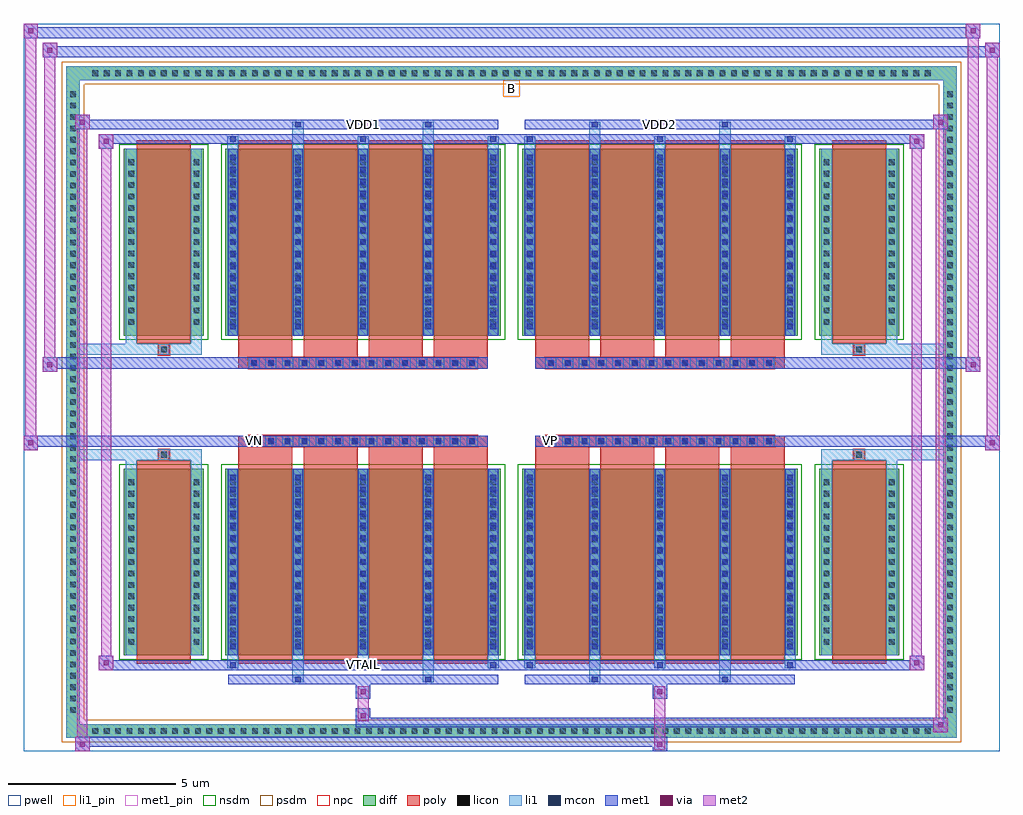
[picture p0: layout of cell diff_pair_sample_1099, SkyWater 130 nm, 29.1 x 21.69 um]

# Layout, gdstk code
import gdstk
lib = gdstk.Library(unit=1e-6, precision=5e-09)
def R(c, l, rs):  # rectangles x0, y0, x1, y1
    for r in rs: c.add(gdstk.rectangle(r[:2], r[2:], *l))
def A(c, l, x, y, w, h, nx, ny, dx, dy):  # array of equal rectangles
    R(c, l, [(x+i*dx, y+j*dy, x+i*dx+w, y+j*dy+h) for i in range(nx) for j in range(ny)])
def P(c, l, *ps):  # polygons
    for p in ps: c.add(gdstk.Polygon(p, *l))
pwell = (64, 44)
diff = (65, 20)
poly = (66, 20)
licon = (66, 44)
li1_pin = (67, 16)
li1 = (67, 20)
mcon = (67, 44)
met1_pin = (68, 16)
met1 = (68, 20)
via = (68, 44)
met2 = (69, 20)
nsdm = (93, 44)
psdm = (94, 20)
npc = (95, 20)

diff_pair_sample_1099 = lib.new_cell('diff_pair_sample_1099')
R(diff_pair_sample_1099, pwell, [(-14.55,-10.41,14.55,11.28), (-11.87,-8.6,-0.01,-0.8), (0.01,-8.6,11.87,-0.8), (-11.87,0.8,-0.01,8.6), (0.01,0.8,11.87,8.6)])
A(diff_pair_sample_1099, diff, -12.615, -10.01, 0.41, 0.41, 74, 2, 0.34, 19.61)
A(diff_pair_sample_1099, diff, -13.28, -9.385, 0.41, 0.41, 1, 55, 0, 0.34)
A(diff_pair_sample_1099, diff, 12.87, -9.385, 0.41, 0.41, 1, 55, 0, 0.34)
R(diff_pair_sample_1099, diff, [(-12.615,-10.01,12.615,-9.6), (-13.28,-9.385,-12.87,9.385), (12.87,-9.385,13.28,9.385), (-11.56,-7.555,-9.17,-1.985), (-8.53,-7.555,-0.32,-1.985), (0.32,-7.555,8.53,-1.985), (9.17,-7.555,11.56,-1.985), (-11.56,1.985,-9.17,7.555), (-8.53,1.985,-0.32,7.555), (0.32,1.985,8.53,7.555), (9.17,1.985,11.56,7.555), (-12.615,9.6,12.615,10.01)])
P(diff_pair_sample_1099, diff, [(13.28,10.01),(-13.28,10.01),(-13.28,-9.6),(-12.87,-9.6),(-12.87,9.6),(12.87,9.6),(12.87,-9.6),(-12.87,-9.6),(-13.28,-9.6),(-13.28,-10.01),(13.28,-10.01)])
A(diff_pair_sample_1099, poly, -8.14, -7.805, 1.61, 6.07, 4, 2, 1.94, 9.54)
A(diff_pair_sample_1099, poly, 0.71, -7.805, 1.61, 6.07, 4, 2, 1.94, 9.54)
A(diff_pair_sample_1099, poly, -8.14, -1.735, 1.61, 0.405, 4, 2, 1.94, 3.065)
A(diff_pair_sample_1099, poly, 0.71, -1.735, 1.61, 0.405, 4, 2, 1.94, 3.065)
A(diff_pair_sample_1099, poly, -7.84, -1.33, 0.33, 0.33, 14, 2, 0.5, 2.33)
A(diff_pair_sample_1099, poly, 1.01, -1.33, 0.33, 0.33, 14, 2, 0.5, 2.33)
R(diff_pair_sample_1099, poly, [(-11.17,-7.805,-9.56,-1.735), (9.56,-7.805,11.17,-1.735), (-10.53,-1.735,-10.2,-1.405), (-10.53,-1.735,-10.2,-1.405), (10.2,-1.735,10.53,-1.405), (10.2,-1.735,10.53,-1.405), (-8.14,-1.33,-0.71,-1), (0.71,-1.33,8.14,-1), (-8.14,1,-0.71,1.33), (0.71,1,8.14,1.33), (-10.53,1.405,-10.2,1.735), (-10.53,1.405,-10.2,1.735), (10.2,1.405,10.53,1.735), (10.2,1.405,10.53,1.735), (-11.17,1.735,-9.56,7.805), (9.56,1.735,11.17,7.805)])
A(diff_pair_sample_1099, licon, -12.495, -9.89, 0.17, 0.17, 74, 2, 0.34, 19.61)
A(diff_pair_sample_1099, licon, -13.16, -9.265, 0.17, 0.17, 1, 55, 0, 0.34)
A(diff_pair_sample_1099, licon, 12.99, -9.265, 0.17, 0.17, 1, 55, 0, 0.34)
A(diff_pair_sample_1099, licon, -11.42, -7.235, 0.17, 0.17, 1, 15, 0, 0.34)
A(diff_pair_sample_1099, licon, -9.48, -7.235, 0.17, 0.17, 1, 15, 0, 0.34)
A(diff_pair_sample_1099, licon, -8.39, -7.235, 0.17, 0.17, 5, 15, 1.94, 0.34)
A(diff_pair_sample_1099, licon, 0.46, -7.235, 0.17, 0.17, 5, 15, 1.94, 0.34)
A(diff_pair_sample_1099, licon, 9.31, -7.235, 0.17, 0.17, 1, 15, 0, 0.34)
A(diff_pair_sample_1099, licon, 11.25, -7.235, 0.17, 0.17, 1, 15, 0, 0.34)
A(diff_pair_sample_1099, licon, -7.76, -1.25, 0.17, 0.17, 14, 2, 0.5, 2.33)
A(diff_pair_sample_1099, licon, 1.09, -1.25, 0.17, 0.17, 14, 2, 0.5, 2.33)
A(diff_pair_sample_1099, licon, -11.42, 2.305, 0.17, 0.17, 1, 15, 0, 0.34)
A(diff_pair_sample_1099, licon, -9.48, 2.305, 0.17, 0.17, 1, 15, 0, 0.34)
A(diff_pair_sample_1099, licon, -8.39, 2.305, 0.17, 0.17, 5, 15, 1.94, 0.34)
A(diff_pair_sample_1099, licon, 0.46, 2.305, 0.17, 0.17, 5, 15, 1.94, 0.34)
A(diff_pair_sample_1099, licon, 9.31, 2.305, 0.17, 0.17, 1, 15, 0, 0.34)
A(diff_pair_sample_1099, licon, 11.25, 2.305, 0.17, 0.17, 1, 15, 0, 0.34)
R(diff_pair_sample_1099, licon, [(-10.45,-1.655,-10.28,-1.485), (10.28,-1.655,10.45,-1.485), (-10.45,1.485,-10.28,1.655), (10.28,1.485,10.45,1.655)])
R(diff_pair_sample_1099, li1_pin, [(-0.25,9.1,0.25,9.6)])
A(diff_pair_sample_1099, li1, -12.575, -9.97, 0.33, 0.33, 74, 2, 0.34, 19.61)
A(diff_pair_sample_1099, li1, -13.24, -9.345, 0.33, 0.33, 1, 55, 0, 0.34)
A(diff_pair_sample_1099, li1, 12.91, -9.345, 0.33, 0.33, 1, 55, 0, 0.34)
A(diff_pair_sample_1099, li1, -8.47, -7.93, 0.33, 0.375, 3, 2, 3.88, 15.485)
A(diff_pair_sample_1099, li1, -8.39, -7.93, 0.17, 0.17, 3, 2, 3.88, 15.69)
A(diff_pair_sample_1099, li1, 0.38, -7.93, 0.33, 0.375, 3, 2, 3.88, 15.485)
A(diff_pair_sample_1099, li1, 0.46, -7.93, 0.17, 0.17, 3, 2, 3.88, 15.69)
A(diff_pair_sample_1099, li1, -8.47, -7.555, 0.33, 5.57, 5, 2, 1.94, 9.54)
A(diff_pair_sample_1099, li1, 0.38, -7.555, 0.33, 5.57, 5, 2, 1.94, 9.54)
A(diff_pair_sample_1099, li1, -8.39, -7.375, 0.17, 0.17, 5, 15, 1.94, 0.36)
A(diff_pair_sample_1099, li1, -8.39, -7.375, 0.17, 5.21, 5, 2, 1.94, 9.54)
A(diff_pair_sample_1099, li1, 0.46, -7.375, 0.17, 0.17, 5, 15, 1.94, 0.36)
A(diff_pair_sample_1099, li1, 0.46, -7.375, 0.17, 5.21, 5, 2, 1.94, 9.54)
A(diff_pair_sample_1099, li1, -11.5, -7.315, 0.33, 0.33, 1, 15, 0, 0.34)
A(diff_pair_sample_1099, li1, -9.56, -7.315, 0.33, 0.33, 1, 15, 0, 0.34)
A(diff_pair_sample_1099, li1, -8.47, -7.315, 0.33, 0.33, 5, 15, 1.94, 0.34)
A(diff_pair_sample_1099, li1, 0.38, -7.315, 0.33, 0.33, 5, 15, 1.94, 0.34)
A(diff_pair_sample_1099, li1, 9.23, -7.315, 0.33, 0.33, 1, 15, 0, 0.34)
A(diff_pair_sample_1099, li1, 11.17, -7.315, 0.33, 0.33, 1, 15, 0, 0.34)
A(diff_pair_sample_1099, li1, -7.84, -1.33, 0.33, 0.33, 14, 2, 0.5, 2.33)
A(diff_pair_sample_1099, li1, 1.01, -1.33, 0.33, 0.33, 14, 2, 0.5, 2.33)
A(diff_pair_sample_1099, li1, -8.39, 2.165, 0.17, 0.17, 5, 15, 1.94, 0.36)
A(diff_pair_sample_1099, li1, 0.46, 2.165, 0.17, 0.17, 5, 15, 1.94, 0.36)
A(diff_pair_sample_1099, li1, -11.5, 2.225, 0.33, 0.33, 1, 15, 0, 0.34)
A(diff_pair_sample_1099, li1, -9.56, 2.225, 0.33, 0.33, 1, 15, 0, 0.34)
A(diff_pair_sample_1099, li1, -8.47, 2.225, 0.33, 0.33, 5, 15, 1.94, 0.34)
A(diff_pair_sample_1099, li1, 0.38, 2.225, 0.33, 0.33, 5, 15, 1.94, 0.34)
A(diff_pair_sample_1099, li1, 9.23, 2.225, 0.33, 0.33, 1, 15, 0, 0.34)
A(diff_pair_sample_1099, li1, 11.17, 2.225, 0.33, 0.33, 1, 15, 0, 0.34)
R(diff_pair_sample_1099, li1, [(-13.28,-10.01,-12.87,-9.6), (-13.28,-10.01,-12.87,-9.6), (-12.87,-10.01,12.87,-9.6), (12.87,-10.01,13.28,-9.6), (12.87,-10.01,13.28,-9.6), (-13.28,-9.6,-12.87,9.6), (12.87,-9.6,13.28,9.6), (-6.53,-8.36,-6.2,-7.555), (-6.45,-8.36,-6.28,-8.19), (-2.65,-8.36,-2.32,-7.555), (-2.57,-8.36,-2.4,-8.19), (2.32,-8.36,2.65,-7.555), (2.4,-8.36,2.57,-8.19), (6.2,-8.36,6.53,-7.555), (6.28,-8.36,6.45,-8.19), (-11.5,-7.555,-11.17,-1.985), (-9.56,-7.555,-9.23,-1.985), (9.23,-7.555,9.56,-1.985), (11.17,-7.555,11.5,-1.985), (-11.5,-1.985,-11.17,-1.405), (-9.56,-1.985,-9.23,-1.405), (9.23,-1.985,9.56,-1.405), (11.17,-1.985,11.5,-1.405), (-13.28,-1.735,-10.53,-1.405), (-11.5,-1.735,-10.53,-1.405), (-10.53,-1.735,-10.2,-1.405), (-10.2,-1.735,-9.23,-1.405), (9.23,-1.735,10.2,-1.405), (10.2,-1.735,10.53,-1.405), (10.2,-1.735,13.28,-1.405), (10.53,-1.735,11.5,-1.405), (-13.28,1.405,-10.53,1.735), (-11.5,1.405,-10.53,1.735), (-11.5,1.405,-11.17,1.985), (-10.53,1.405,-10.2,1.735), (-10.2,1.405,-9.23,1.735), (-9.56,1.405,-9.23,1.985), (9.23,1.405,10.2,1.735), (9.23,1.405,9.56,1.985), (10.2,1.405,10.53,1.735), (10.2,1.405,13.28,1.735), (10.53,1.405,11.5,1.735), (11.17,1.405,11.5,1.985), (-11.5,1.985,-11.17,7.555), (-9.56,1.985,-9.23,7.555), (9.23,1.985,9.56,7.555), (11.17,1.985,11.5,7.555), (-6.53,7.555,-6.2,8.36), (-2.65,7.555,-2.32,8.36), (2.32,7.555,2.65,8.36), (6.2,7.555,6.53,8.36), (-6.45,8.19,-6.28,8.36), (-2.57,8.19,-2.4,8.36), (2.4,8.19,2.57,8.36), (6.28,8.19,6.45,8.36), (-13.28,9.6,-12.87,10.01), (-13.28,9.6,-12.87,10.01), (-12.87,9.6,12.87,10.01), (12.87,9.6,13.28,10.01), (12.87,9.6,13.28,10.01)])
A(diff_pair_sample_1099, mcon, -8.39, -7.93, 0.17, 0.17, 3, 2, 3.88, 15.69)
A(diff_pair_sample_1099, mcon, 0.46, -7.93, 0.17, 0.17, 3, 2, 3.88, 15.69)
A(diff_pair_sample_1099, mcon, -8.39, -7.375, 0.17, 0.17, 5, 15, 1.94, 0.36)
A(diff_pair_sample_1099, mcon, 0.46, -7.375, 0.17, 0.17, 5, 15, 1.94, 0.36)
A(diff_pair_sample_1099, mcon, -7.76, -1.25, 0.17, 0.17, 14, 2, 0.5, 2.33)
A(diff_pair_sample_1099, mcon, 1.09, -1.25, 0.17, 0.17, 14, 2, 0.5, 2.33)
A(diff_pair_sample_1099, mcon, -8.39, 2.165, 0.17, 0.17, 5, 15, 1.94, 0.36)
A(diff_pair_sample_1099, mcon, 0.46, 2.165, 0.17, 0.17, 5, 15, 1.94, 0.36)
R(diff_pair_sample_1099, mcon, [(-6.45,-8.36,-6.28,-8.19), (-2.57,-8.36,-2.4,-8.19), (2.4,-8.36,2.57,-8.19), (6.28,-8.36,6.45,-8.19), (-6.45,8.19,-6.28,8.36), (-2.57,8.19,-2.4,8.36), (2.4,8.19,2.57,8.36), (6.28,8.19,6.45,8.36)])
R(diff_pair_sample_1099, met1_pin, [(-4.56,-7.97,-4.29,-7.7), (-7.81,-1.29,-7.54,-1.02), (1.04,-1.29,1.31,-1.02), (-4.56,8.15,-4.29,8.42), (4.29,8.15,4.56,8.42)])
A(diff_pair_sample_1099, met1, -8.45, -7.99, 0.29, 0.29, 3, 2, 3.88, 15.69)
A(diff_pair_sample_1099, met1, 0.4, -7.99, 0.29, 0.29, 3, 2, 3.88, 15.69)
A(diff_pair_sample_1099, met1, -8.45, -7.555, 0.29, 5.57, 5, 2, 1.94, 9.54)
A(diff_pair_sample_1099, met1, 0.4, -7.555, 0.29, 5.57, 5, 2, 1.94, 9.54)
A(diff_pair_sample_1099, met1, -8.45, -7.435, 0.29, 0.29, 5, 15, 1.94, 0.36)
A(diff_pair_sample_1099, met1, 0.4, -7.435, 0.29, 0.29, 5, 15, 1.94, 0.36)
A(diff_pair_sample_1099, met1, -7.82, -1.31, 0.29, 0.29, 14, 2, 0.5, 2.33)
A(diff_pair_sample_1099, met1, 1.03, -1.31, 0.29, 0.29, 14, 2, 0.5, 2.33)
A(diff_pair_sample_1099, met1, -8.45, 2.105, 0.29, 0.29, 5, 15, 1.94, 0.36)
A(diff_pair_sample_1099, met1, 0.4, 2.105, 0.29, 0.29, 5, 15, 1.94, 0.36)
R(diff_pair_sample_1099, met1, [(-13.01,-10.41,-12.58,-9.98), (4.21,-10.41,4.64,-9.98), (-13.01,-10.27,4.64,-9.98), (12.58,-9.84,13.01,-9.41), (-4.64,-9.7,13.01,-9.41), (-4.64,-9.56,-4.21,-9.13), (-4.64,-8.85,-4.21,-8.42), (4.21,-8.85,4.64,-8.42), (-8.45,-8.42,-0.4,-8.13), (-6.51,-8.42,-6.22,-8.13), (-2.63,-8.42,-2.34,-8.13), (0.4,-8.42,8.45,-8.13), (2.34,-8.42,2.63,-8.13), (6.22,-8.42,6.51,-8.13), (-12.3,-7.99,-11.87,-7.56), (-12.3,-7.99,-8.45,-7.7), (-8.45,-7.99,-0.4,-7.7), (-0.4,-7.99,0.4,-7.7), (0.4,-7.99,8.45,-7.7), (8.45,-7.99,12.3,-7.7), (11.87,-7.99,12.3,-7.56), (-14.55,-1.43,-14.12,-1), (14.12,-1.43,14.55,-1), (-14.55,-1.33,-0.71,-1), (-8.14,-1.33,-0.71,-1), (0.71,-1.33,8.14,-1), (0.71,-1.33,14.55,-1), (-13.98,0.9,-13.55,1.33), (13.55,0.9,13.98,1.33), (-13.98,1,-8.14,1.33), (-8.14,1,-0.71,1.33), (0.71,1,8.14,1.33), (8.14,1,13.98,1.33), (-12.3,7.56,-11.87,7.99), (11.87,7.56,12.3,7.99), (-12.3,7.7,-8.45,7.99), (-8.45,7.7,-0.4,7.99), (-0.4,7.7,0.4,7.99), (0.4,7.7,8.45,7.99), (8.45,7.7,12.3,7.99), (-13.01,8.13,-12.58,8.56), (-13.01,8.13,-8.45,8.42), (-8.45,8.13,-0.4,8.42), (-6.51,8.13,-6.22,8.42), (-2.63,8.13,-2.34,8.42), (0.4,8.13,8.45,8.42), (2.34,8.13,2.63,8.42), (6.22,8.13,6.51,8.42), (8.45,8.13,13.01,8.42), (12.58,8.13,13.01,8.56), (-13.98,10.28,-13.55,10.71), (-13.98,10.28,-11.87,10.61), (-11.87,10.28,11.87,10.61), (11.87,10.28,14.55,10.61), (14.12,10.28,14.55,10.71), (-14.55,10.85,-14.12,11.28), (-14.55,10.85,-11.87,11.18), (-11.87,10.85,11.87,11.18), (11.87,10.85,13.98,11.18), (13.55,10.85,13.98,11.28)])
R(diff_pair_sample_1099, via, [(-12.87,-10.27,-12.72,-10.12), (4.35,-10.27,4.5,-10.12), (12.72,-9.7,12.87,-9.55), (-4.5,-9.42,-4.35,-9.27), (-4.5,-8.71,-4.35,-8.56), (4.35,-8.71,4.5,-8.56), (-12.16,-7.85,-12.01,-7.7), (12.01,-7.85,12.16,-7.7), (-14.41,-1.29,-14.26,-1.14), (14.26,-1.29,14.41,-1.14), (-13.84,1.04,-13.69,1.19), (13.69,1.04,13.84,1.19), (-12.16,7.7,-12.01,7.85), (12.01,7.7,12.16,7.85), (-12.87,8.27,-12.72,8.42), (12.72,8.27,12.87,8.42), (-13.84,10.42,-13.69,10.57), (14.26,10.42,14.41,10.57), (-14.41,10.99,-14.26,11.14), (13.69,10.99,13.84,11.14)])
R(diff_pair_sample_1099, met2, [(-13.01,-10.41,-12.58,-9.98), (-12.94,-10.41,-12.65,8.56), (-12.65,-10.41,-12.58,-9.98), (-12.96,-10.36,-12.63,-10.03), (4.26,-10.36,4.59,-10.03), (4.26,-10.03,4.59,-8.8), (12.58,-9.84,13.01,-9.41), (12.65,-9.84,12.94,8.56), (12.94,-9.84,13.01,-9.41), (12.63,-9.79,12.96,-9.46), (-4.59,-9.51,-4.26,-9.18), (-4.59,-9.18,-4.26,-8.8), (-4.59,-8.8,-4.26,-8.47), (4.26,-8.8,4.59,-8.47), (-12.3,-7.99,-11.87,-7.56), (-12.23,-7.99,-11.94,7.99), (-11.94,-7.99,-11.87,-7.56), (11.87,-7.99,12.3,-7.56), (11.94,-7.99,12.23,7.99), (12.23,-7.99,12.3,-7.56), (-12.25,-7.94,-11.92,-7.61), (11.92,-7.94,12.25,-7.61), (-14.55,-1.43,-14.12,-1), (-14.5,-1.43,-14.17,11.28), (-14.17,-1.43,-14.12,-1), (14.12,-1.43,14.55,-1), (14.17,-1.43,14.5,10.71), (14.5,-1.43,14.55,-1), (-14.5,-1.38,-14.17,-1.05), (14.17,-1.38,14.5,-1.05), (-13.98,0.9,-13.55,1.33), (-13.93,0.9,-13.6,10.71), (-13.6,0.9,-13.55,1.33), (13.55,0.9,13.98,1.33), (13.6,0.9,13.93,11.28), (13.93,0.9,13.98,1.33), (-13.93,0.95,-13.6,1.28), (13.6,0.95,13.93,1.28), (-12.3,7.56,-11.87,7.99), (-11.94,7.56,-11.87,7.99), (11.87,7.56,12.3,7.99), (12.23,7.56,12.3,7.99), (-12.25,7.61,-11.92,7.94), (11.92,7.61,12.25,7.94), (-13.01,8.13,-12.58,8.56), (-12.65,8.13,-12.58,8.56), (12.58,8.13,13.01,8.56), (12.94,8.13,13.01,8.56), (-12.96,8.18,-12.63,8.51), (12.63,8.18,12.96,8.51), (-13.98,10.28,-13.55,10.71), (-13.6,10.28,-13.55,10.71), (14.12,10.28,14.55,10.71), (14.5,10.28,14.55,10.71), (-13.93,10.33,-13.6,10.66), (14.17,10.33,14.5,10.66), (-14.55,10.85,-14.12,11.28), (-14.17,10.85,-14.12,11.28), (13.55,10.85,13.98,11.28), (13.93,10.85,13.98,11.28), (-14.5,10.9,-14.17,11.23), (13.6,10.9,13.93,11.23)])
R(diff_pair_sample_1099, nsdm, [(-11.69,-7.685,-9.04,-1.855), (-8.66,-7.685,-0.19,-1.855), (0.19,-7.685,8.66,-1.855), (9.04,-7.685,11.69,-1.855), (-11.69,1.855,-9.04,7.685), (-8.66,1.855,-0.19,7.685), (0.19,1.855,8.66,7.685), (9.04,1.855,11.69,7.685)])
P(diff_pair_sample_1099, psdm, [(13.41,10.14),(-13.41,10.14),(-13.41,-9.47),(-12.74,-9.47),(-12.74,9.47),(12.74,9.47),(12.74,-9.47),(-12.74,-9.47),(-13.41,-9.47),(-13.41,-10.14),(13.41,-10.14)])
A(diff_pair_sample_1099, npc, -7.86, -1.35, 0.37, 0.37, 14, 2, 0.5, 2.33)
A(diff_pair_sample_1099, npc, 0.99, -1.35, 0.37, 0.37, 14, 2, 0.5, 2.33)
R(diff_pair_sample_1099, npc, [(-10.55,-1.755,-10.18,-1.385), (10.18,-1.755,10.55,-1.385), (-7.86,-1.35,-6.99,-0.98), (-7.86,-1.35,-6.99,-0.98), (-7.36,-1.35,-6.49,-0.98), (-7.36,-1.35,-6.49,-0.98), (-6.86,-1.35,-5.99,-0.98), (-6.86,-1.35,-5.99,-0.98), (-6.36,-1.35,-5.49,-0.98), (-6.36,-1.35,-5.49,-0.98), (-5.86,-1.35,-4.99,-0.98), (-5.86,-1.35,-4.99,-0.98), (-5.36,-1.35,-4.49,-0.98), (-5.36,-1.35,-4.49,-0.98), (-4.86,-1.35,-3.99,-0.98), (-4.86,-1.35,-3.99,-0.98), (-4.36,-1.35,-3.49,-0.98), (-4.36,-1.35,-3.49,-0.98), (-3.86,-1.35,-2.99,-0.98), (-3.86,-1.35,-2.99,-0.98), (-3.36,-1.35,-2.49,-0.98), (-3.36,-1.35,-2.49,-0.98), (-2.86,-1.35,-1.99,-0.98), (-2.86,-1.35,-1.99,-0.98), (-2.36,-1.35,-1.49,-0.98), (-2.36,-1.35,-1.49,-0.98), (-1.86,-1.35,-0.99,-0.98), (-1.86,-1.35,-0.99,-0.98), (0.99,-1.35,1.86,-0.98), (0.99,-1.35,1.86,-0.98), (1.49,-1.35,2.36,-0.98), (1.49,-1.35,2.36,-0.98), (1.99,-1.35,2.86,-0.98), (1.99,-1.35,2.86,-0.98), (2.49,-1.35,3.36,-0.98), (2.49,-1.35,3.36,-0.98), (2.99,-1.35,3.86,-0.98), (2.99,-1.35,3.86,-0.98), (3.49,-1.35,4.36,-0.98), (3.49,-1.35,4.36,-0.98), (3.99,-1.35,4.86,-0.98), (3.99,-1.35,4.86,-0.98), (4.49,-1.35,5.36,-0.98), (4.49,-1.35,5.36,-0.98), (4.99,-1.35,5.86,-0.98), (4.99,-1.35,5.86,-0.98), (5.49,-1.35,6.36,-0.98), (5.49,-1.35,6.36,-0.98), (5.99,-1.35,6.86,-0.98), (5.99,-1.35,6.86,-0.98), (6.49,-1.35,7.36,-0.98), (6.49,-1.35,7.36,-0.98), (6.99,-1.35,7.86,-0.98), (6.99,-1.35,7.86,-0.98), (-7.86,0.98,-6.99,1.35), (-7.86,0.98,-6.99,1.35), (-7.36,0.98,-6.49,1.35), (-7.36,0.98,-6.49,1.35), (-6.86,0.98,-5.99,1.35), (-6.86,0.98,-5.99,1.35), (-6.36,0.98,-5.49,1.35), (-6.36,0.98,-5.49,1.35), (-5.86,0.98,-4.99,1.35), (-5.86,0.98,-4.99,1.35), (-5.36,0.98,-4.49,1.35), (-5.36,0.98,-4.49,1.35), (-4.86,0.98,-3.99,1.35), (-4.86,0.98,-3.99,1.35), (-4.36,0.98,-3.49,1.35), (-4.36,0.98,-3.49,1.35), (-3.86,0.98,-2.99,1.35), (-3.86,0.98,-2.99,1.35), (-3.36,0.98,-2.49,1.35), (-3.36,0.98,-2.49,1.35), (-2.86,0.98,-1.99,1.35), (-2.86,0.98,-1.99,1.35), (-2.36,0.98,-1.49,1.35), (-2.36,0.98,-1.49,1.35), (-1.86,0.98,-0.99,1.35), (-1.86,0.98,-0.99,1.35), (0.99,0.98,1.86,1.35), (0.99,0.98,1.86,1.35), (1.49,0.98,2.36,1.35), (1.49,0.98,2.36,1.35), (1.99,0.98,2.86,1.35), (1.99,0.98,2.86,1.35), (2.49,0.98,3.36,1.35), (2.49,0.98,3.36,1.35), (2.99,0.98,3.86,1.35), (2.99,0.98,3.86,1.35), (3.49,0.98,4.36,1.35), (3.49,0.98,4.36,1.35), (3.99,0.98,4.86,1.35), (3.99,0.98,4.86,1.35), (4.49,0.98,5.36,1.35), (4.49,0.98,5.36,1.35), (4.99,0.98,5.86,1.35), (4.99,0.98,5.86,1.35), (5.49,0.98,6.36,1.35), (5.49,0.98,6.36,1.35), (5.99,0.98,6.86,1.35), (5.99,0.98,6.86,1.35), (6.49,0.98,7.36,1.35), (6.49,0.98,7.36,1.35), (6.99,0.98,7.86,1.35), (6.99,0.98,7.86,1.35), (-10.55,1.385,-10.18,1.755), (10.18,1.385,10.55,1.755)])
diff_pair_sample_1099.add(gdstk.Label('VTAIL', (-4.425,-7.835), layer=68, texttype=5))
diff_pair_sample_1099.add(gdstk.Label('VN', (-7.675,-1.155), layer=68, texttype=5))
diff_pair_sample_1099.add(gdstk.Label('VP', (1.175,-1.155), layer=68, texttype=5))
diff_pair_sample_1099.add(gdstk.Label('B', (0,9.35), layer=67, texttype=5))
diff_pair_sample_1099.add(gdstk.Label('VDD2', (4.425,8.285), layer=68, texttype=5))
diff_pair_sample_1099.add(gdstk.Label('VDD1', (-4.425,8.285), layer=68, texttype=5))

lib.write_gds('diff_pair_sample_1099.gds')
